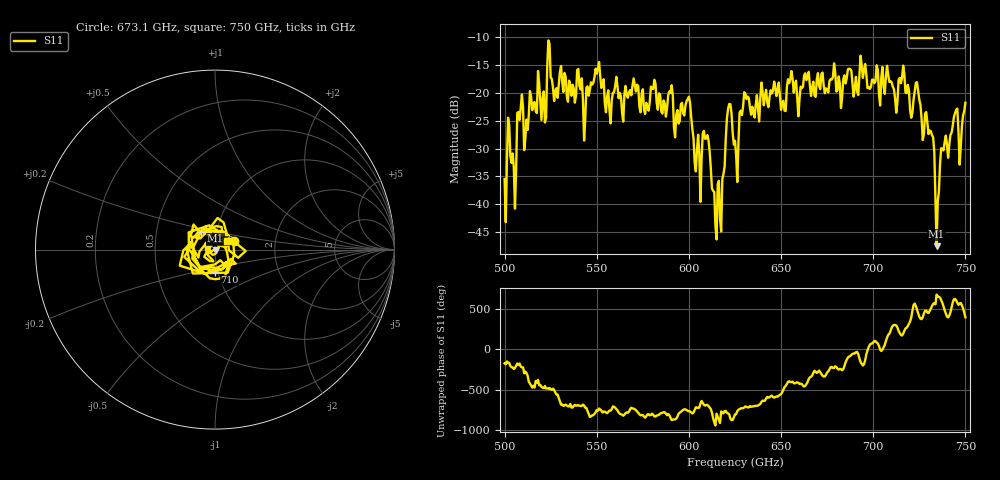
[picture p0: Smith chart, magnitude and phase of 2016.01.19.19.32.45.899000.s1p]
!Created with skrf (http://scikit-rf.org).
# GHz S RI R 50.0
!freq ReS11 ImS11
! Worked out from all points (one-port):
!   401 points, 500 GHz to 750 GHz, reference 50 ohm
!   lowest |S11| = -47.5 dB at 734.4 GHz (marker M1), VSWR 1.01, Z = 50.3 - j0.29 ohm
!   |S11| at or under -10 dB: start of sweep to end of sweep
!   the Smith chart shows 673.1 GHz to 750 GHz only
!   S11 on the Smith chart (normalised r, x): 673.1 GHz: 1.23, +0.12; 710 GHz: 0.97, -0.24; 723.8 GHz: 0.84, +0.16; 750 GHz: 1.14, +0.11
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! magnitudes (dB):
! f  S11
! 500 GHz  -35.5
! 503.1 GHz  -31.3
! 505 GHz  -33.4
! 508.1 GHz  -24.9
! 511.9 GHz  -24.8
! 521.2 GHz  -19.7
! 524.4 GHz  -11.2
! 531.2 GHz  -18.0
! 562.5 GHz  -20.0
! 590 GHz  -20.0
! 593.8 GHz  -23.1
! 599.4 GHz  -21.1
! 605 GHz  -27.5
! 609.4 GHz  -28.2
! 616.2 GHz  -35.8
! 621.9 GHz  -22.0
! 625 GHz  -28.6
! 631.2 GHz  -21.1
! 656.2 GHz  -17.5
! 673.1 GHz  -18.7
! 687.5 GHz  -15.7
! 710 GHz  -18.1
! 718.8 GHz  -18.6
! 723.8 GHz  -18.1
! 731.9 GHz  -27.6
! 734.4 GHz  -47.5
! 738.1 GHz  -30.3
! 750 GHz  -21.8
